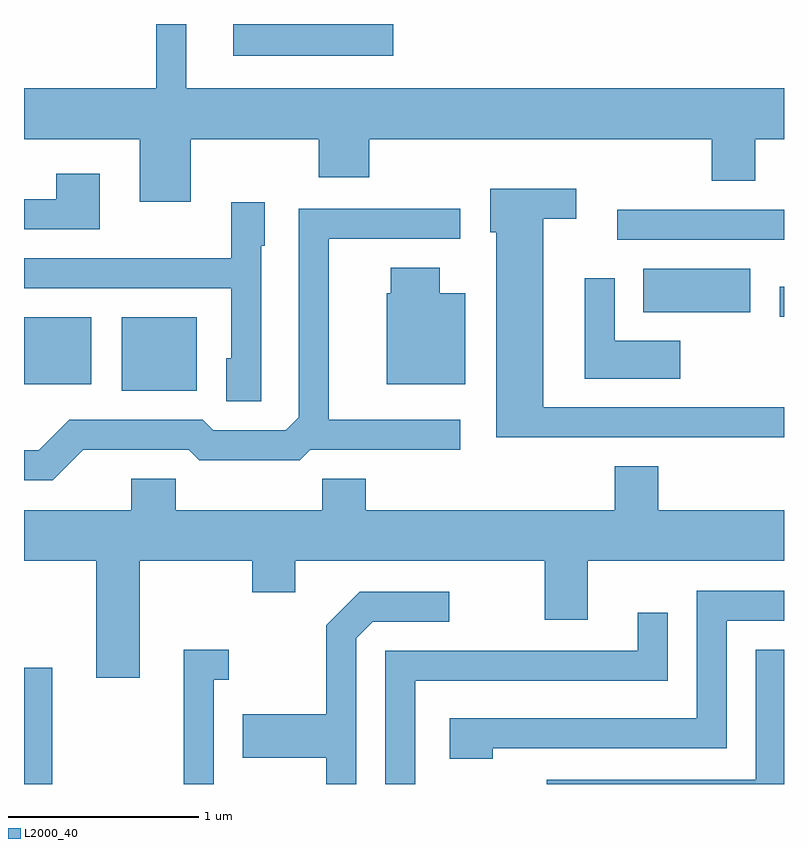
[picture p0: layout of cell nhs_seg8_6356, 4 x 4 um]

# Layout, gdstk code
import gdstk
lib = gdstk.Library(unit=1e-6, precision=1e-09)
def R(c, l, rs):  # rectangles x0, y0, x1, y1
    for r in rs: c.add(gdstk.rectangle(r[:2], r[2:], *l))
def P(c, l, *ps):  # polygons
    for p in ps: c.add(gdstk.Polygon(p, *l))
L2000_40 = (2000, 40)

nhs_seg8_6356 = lib.new_cell('nhs_seg8_6356')
R(nhs_seg8_6356, L2000_40, [(375.611,1846.342,375.759,1846.954), (376.126,1848.411,376.519,1848.799), (375.611,1848.446,375.964,1848.799), (379.588,1848.801,379.611,1848.959), (378.871,1848.826,379.434,1849.054), (378.733,1849.206,379.611,1849.364), (376.711,1850.176,377.554,1850.342)])
P(nhs_seg8_6356, L2000_40, [(376.489,1849.736),(377.161,1849.736),(377.161,1849.536),(377.429,1849.536),(377.429,1849.736),(379.231,1849.736),(379.231,1849.516),(379.459,1849.516),(379.459,1849.736),(379.611,1849.736),(379.611,1850.004),(376.464,1850.004),(376.464,1850.342),(376.306,1850.342),(376.306,1850.004),(375.611,1850.004),(375.611,1849.736),(376.221,1849.736),(376.221,1849.406),(376.489,1849.406)],
  [(376.009,1849.554),(375.781,1849.554),(375.781,1849.419),(375.611,1849.419),(375.611,1849.261),(376.009,1849.261)],
  [(379.611,1848.324),(378.344,1848.324),(378.344,1849.316),(378.518,1849.316),(378.518,1849.474),(378.066,1849.474),(378.066,1849.246),(378.096,1849.246),(378.096,1848.166),(379.611,1848.166)],
  [(376.859,1849.176),(376.879,1849.176),(376.879,1849.404),(376.701,1849.404),(376.701,1849.109),(375.611,1849.109),(375.611,1848.951),(376.701,1848.951),(376.701,1848.584),(376.676,1848.584),(376.676,1848.356),(376.859,1848.356)],
  [(375.922,1848.101),(376.479,1848.101),(376.534,1848.046),(377.062,1848.046),(377.117,1848.101),(377.908,1848.101),(377.908,1848.259),(377.214,1848.259),(377.214,1849.211),(377.908,1849.211),(377.908,1849.369),(377.056,1849.369),(377.056,1848.272),(376.989,1848.204),(376.607,1848.204),(376.552,1848.259),(375.849,1848.259),(375.689,1848.099),(375.611,1848.099),(375.611,1847.941),(375.762,1847.941)],
  [(377.934,1848.924),(377.799,1848.924),(377.799,1849.059),(377.541,1849.059),(377.541,1848.924),(377.521,1848.924),(377.521,1848.446),(377.934,1848.446)],
  [(379.064,1848.674),(378.719,1848.674),(378.719,1849.003),(378.561,1849.003),(378.561,1848.476),(379.064,1848.476)],
  [(376.219,1847.516),(376.811,1847.516),(376.811,1847.351),(377.039,1847.351),(377.039,1847.516),(378.351,1847.516),(378.351,1847.206),(378.579,1847.206),(378.579,1847.516),(379.611,1847.516),(379.611,1847.784),(378.949,1847.784),(378.949,1848.014),(378.721,1848.014),(378.721,1847.784),(377.409,1847.784),(377.409,1847.949),(377.181,1847.949),(377.181,1847.784),(376.409,1847.784),(376.409,1847.949),(376.176,1847.949),(376.176,1847.784),(375.611,1847.784),(375.611,1847.516),(375.991,1847.516),(375.991,1846.901),(376.219,1846.901)],
  [(378.079,1846.531),(379.309,1846.531),(379.309,1847.201),(379.611,1847.201),(379.611,1847.359),(379.151,1847.359),(379.151,1846.689),(377.851,1846.689),(377.851,1846.476),(378.079,1846.476)],
  [(377.359,1847.109),(377.447,1847.196),(377.848,1847.196),(377.848,1847.354),(377.379,1847.354),(377.201,1847.177),(377.201,1846.709),(376.761,1846.709),(376.761,1846.481),(377.201,1846.481),(377.201,1846.342),(377.359,1846.342)],
  [(377.669,1846.886),(378.999,1846.886),(378.999,1847.243),(378.841,1847.243),(378.841,1847.044),(377.511,1847.044),(377.511,1846.342),(377.669,1846.342)],
  [(376.609,1846.891),(376.688,1846.891),(376.688,1847.049),(376.451,1847.049),(376.451,1846.342),(376.609,1846.342)],
  [(379.611,1847.049),(379.461,1847.049),(379.461,1846.364),(378.363,1846.364),(378.363,1846.342),(379.611,1846.342)])

lib.write_gds('nhs_seg8_6356.gds')
